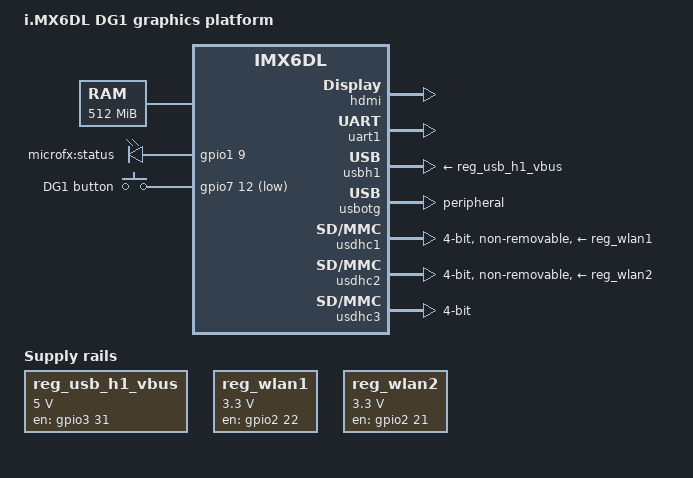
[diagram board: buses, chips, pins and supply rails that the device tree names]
// SPDX-License-Identifier: GPL-2.0-or-later
/dts-v1/;

#include "nxp/imx/imx6dl.dtsi"
#include <dt-bindings/gpio/gpio.h>
#include <dt-bindings/input/input.h>

/ {
	model = "i.MX6DL DG1 graphics platform";
	compatible = "microfx,imx6dl-dg1", "fsl,imx6dl";

	aliases {
		mmc0 = &usdhc3;
		mmc1 = &usdhc1;
		mmc2 = &usdhc2;
		serial0 = &uart1;
	};

	chosen {
		stdout-path = &uart1;
	};

	memory@10000000 {
		device_type = "memory";
		reg = <0x10000000 0x20000000>;
	};

	leds {
		compatible = "gpio-leds";
		status {
			label = "microfx:status";
			gpios = <&gpio1 9 GPIO_ACTIVE_HIGH>;
			linux,default-trigger = "heartbeat";
		};
	};

	keys {
		compatible = "gpio-keys";
		user-button {
			label = "DG1 button";
			linux,code = <KEY_OK>;
			gpios = <&gpio7 12 GPIO_ACTIVE_LOW>;
		};
	};

	reg_usb_h1_vbus: regulator-usb-h1-vbus {
		compatible = "regulator-fixed";
		regulator-name = "usb_h1_vbus";
		regulator-min-microvolt = <5000000>;
		regulator-max-microvolt = <5000000>;
		gpio = <&gpio3 31 GPIO_ACTIVE_HIGH>;
		enable-active-high;
	};

	reg_wlan1: regulator-wlan1 {
		compatible = "regulator-fixed";
		regulator-name = "wlan1_3p3v";
		regulator-min-microvolt = <3300000>;
		regulator-max-microvolt = <3300000>;
		gpio = <&gpio2 22 GPIO_ACTIVE_HIGH>;
		enable-active-high;
		regulator-always-on;
	};

	reg_wlan2: regulator-wlan2 {
		compatible = "regulator-fixed";
		regulator-name = "wlan2_3p3v";
		regulator-min-microvolt = <3300000>;
		regulator-max-microvolt = <3300000>;
		gpio = <&gpio2 21 GPIO_ACTIVE_HIGH>;
		enable-active-high;
		regulator-always-on;
	};
};

&hdmi {
	pinctrl-names = "default";
	pinctrl-0 = <&pinctrl_hdmi_ddc &pinctrl_hdmi_cec>;
	status = "okay";
};

&iomuxc {
	pinctrl-names = "default";
	pinctrl-0 = <&pinctrl_hog>;

	pinctrl_hog: hoggrp {
		fsl,pins = <
			0x20c 0x5dc 0x000 0x0 0x0 0x130b0
			0x27c 0x664 0x000 0x4 0x0 0x130b0
			0x180 0x550 0x000 0x5 0x0 0x100b1
			0x17c 0x54c 0x000 0x5 0x0 0x10081
			0x110 0x4e0 0x000 0x5 0x0 0x100b1
			0x114 0x4e4 0x000 0x5 0x0 0x100b1
			0x218 0x5e8 0x000 0x5 0x0 0x1b081
			0x240 0x610 0x000 0x5 0x0 0x100b1
		>;
	};

	pinctrl_uart1: uart1grp {
		fsl,pins = <
			0x04c 0x360 0x000 0x3 0x0 0x1b0b1
			0x050 0x364 0x8fc 0x3 0x1 0x1b0b1
		>;
	};

	pinctrl_hdmi_ddc: hdmiddcgrp {
		fsl,pins = <
			0x250 0x638 0x860 0x2 0x1 0x4001b8b1
			0x264 0x64c 0x864 0x2 0x1 0x4001b8b1
		>;
	};

	pinctrl_hdmi_cec: hdmicecgrp {
		fsl,pins = <0x260 0x648 0x85c 0x6 0x1 0x1f8b0>;
	};

	pinctrl_usdhc1: usdhc1grp {
		fsl,pins = <
			0x2e0 0x6c8 0x000 0x0 0x0 0x17059
			0x2dc 0x6c4 0x928 0x0 0x1 0x10059
			0x2e4 0x6cc 0x000 0x0 0x0 0x17059
			0x2e8 0x6d0 0x000 0x0 0x0 0x17059
			0x2ec 0x6d4 0x000 0x0 0x0 0x17059
			0x2f0 0x6d8 0x000 0x0 0x0 0x17059
		>;
	};

	pinctrl_usdhc2: usdhc2grp {
		fsl,pins = <
			0x2f8 0x6e0 0x000 0x0 0x0 0x17059
			0x2f4 0x6dc 0x930 0x0 0x1 0x10059
			0x2fc 0x6e4 0x000 0x0 0x0 0x17059
			0x300 0x6e8 0x000 0x0 0x0 0x17059
			0x304 0x6ec 0x000 0x0 0x0 0x17059
			0x308 0x6f0 0x000 0x0 0x0 0x17059
		>;
	};

	pinctrl_usdhc3: usdhc3grp {
		fsl,pins = <
			0x310 0x6f8 0x000 0x0 0x0 0x17059
			0x30c 0x6f4 0x934 0x0 0x1 0x10059
			0x314 0x6fc 0x000 0x0 0x0 0x17059
			0x318 0x700 0x000 0x0 0x0 0x17059
			0x31c 0x704 0x000 0x0 0x0 0x17059
			0x320 0x708 0x000 0x0 0x0 0x17059
		>;
	};
};

&uart1 {
	pinctrl-names = "default";
	pinctrl-0 = <&pinctrl_uart1>;
	status = "okay";
};

&usbh1 {
	vbus-supply = <&reg_usb_h1_vbus>;
	disable-over-current;
	status = "okay";
};

&usbotg {
	dr_mode = "peripheral";
	status = "okay";
};

&usdhc1 {
	pinctrl-names = "default";
	pinctrl-0 = <&pinctrl_usdhc1>;
	bus-width = <4>;
	non-removable;
	vmmc-supply = <&reg_wlan1>;
	status = "okay";
};

&usdhc2 {
	pinctrl-names = "default";
	pinctrl-0 = <&pinctrl_usdhc2>;
	bus-width = <4>;
	non-removable;
	vmmc-supply = <&reg_wlan2>;
	status = "okay";
};

&usdhc3 {
	pinctrl-names = "default";
	pinctrl-0 = <&pinctrl_usdhc3>;
	bus-width = <4>;
	no-1-8-v;
	status = "okay";
};
